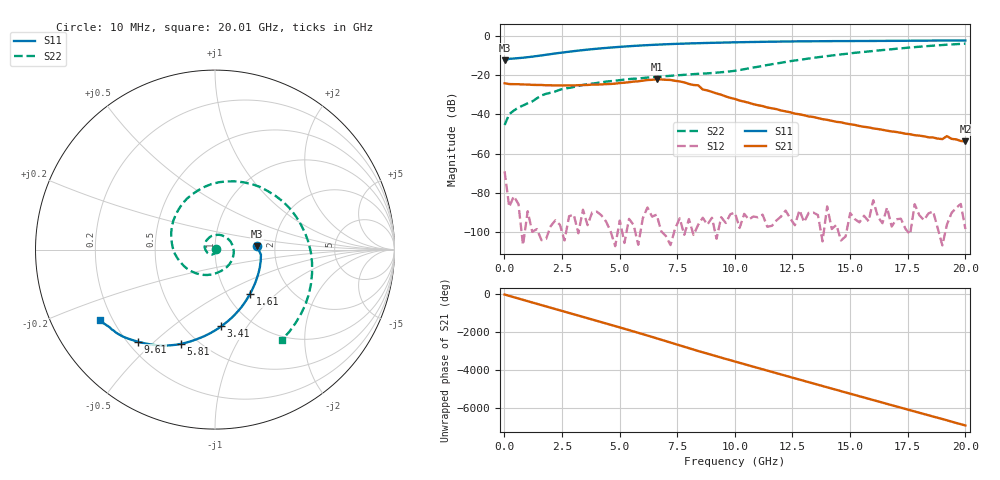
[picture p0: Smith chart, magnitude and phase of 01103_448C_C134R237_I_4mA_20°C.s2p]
!;Filter: kein Filter
!auto
!3/21/2019 9:25:24 AM
!3/21/2019 9:25:40 AM
!SP-Measurements Prober G4
!SP-Measurements Prober G4
!134
!237
!12
!20
!-20
!0.00399976
!1.88
!0.54220246
!0.54220246
# Hz S  RI  R 50
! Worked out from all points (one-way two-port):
!   101 points, 10 MHz to 20.01 GHz, reference 50 ohm
!   highest |S21| = -22.20 dB at 6.61 GHz (marker M1); lowest = -53.8 dB at 20.01 GHz (marker M2)
!   lowest |S11| = -12.6 dB at 10 MHz (marker M3), VSWR 1.61, Z = 80.5 + j3.16 ohm
!   |S11| at or under -10 dB: start of sweep to 1.64 GHz
!   |S22| runs from -45.5 to -4.1 dB; largest |S21 - S12| = 0.078
!   S11 on the Smith chart (normalised r, x): 10 MHz: 1.61, +0.06; 1.61 GHz: 1.27, -0.70; 3.41 GHz: 0.73, -0.77; 5.81 GHz: 0.41, -0.62; 9.61 GHz: 0.24, -0.44; 20.01 GHz: 0.15, -0.27
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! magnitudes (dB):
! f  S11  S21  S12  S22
! 10 MHz  -12.6  -24.2  -69.0  -45.5
! 210 MHz  -11.8  -24.6  -87.2  -39.9
! 610 MHz  -11.4  -24.7  -85.7  -36.6
! 1.21 GHz  -10.7  -25.0  -99.8  -33.5
! 1.61 GHz  -10.0  -25.1  -104.1  -30.4
! 2.61 GHz  -8.4  -25.3  -104.3  -26.9
! 3.41 GHz  -7.4  -25.1  -88.6  -25.1
! 5.81 GHz  -5.1  -23.2  -106.4  -21.8
! 6.61 GHz  -4.6  -22.2  -91.1  -21.0
! 6.81 GHz  -4.5  -22.3  -99.6  -20.8
! 7.21 GHz  -4.3  -22.5  -106.6  -20.4
! 8.41 GHz  -3.8  -25.2  -96.3  -19.4
! 8.61 GHz  -3.8  -27.4  -92.7  -19.3
! 9.61 GHz  -3.5  -31.0  -95.3  -18.4
! 10.01 GHz  -3.4  -32.2  -90.2  -17.9
! 11.41 GHz  -3.1  -36.6  -97.3  -14.9
! 13.41 GHz  -2.8  -41.4  -90.0  -11.3
! 16.81 GHz  -2.6  -48.8  -97.2  -6.9
! 19.01 GHz  -2.5  -52.6  -106.8  -4.8
! 19.21 GHz  -2.4  -51.1  -96.1  -4.6
! 19.41 GHz  -2.4  -52.5  -90.2  -4.5
! 20.01 GHz  -2.5  -53.8  -98.5  -4.1
